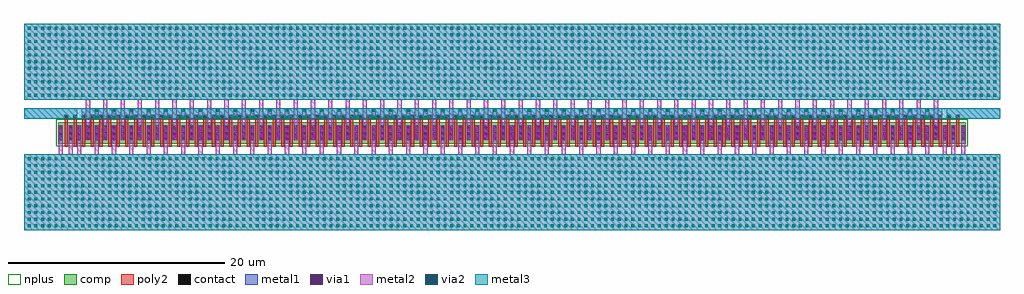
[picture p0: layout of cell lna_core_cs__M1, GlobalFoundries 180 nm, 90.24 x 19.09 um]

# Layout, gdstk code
import gdstk
lib = gdstk.Library(unit=1e-6, precision=1e-09)
def R(c, l, rs):  # rectangles x0, y0, x1, y1
    for r in rs: c.add(gdstk.rectangle(r[:2], r[2:], *l))
def A(c, l, x, y, w, h, nx, ny, dx, dy):  # array of equal rectangles
    R(c, l, [(x+i*dx, y+j*dy, x+i*dx+w, y+j*dy+h) for i in range(nx) for j in range(ny)])
comp = (22, 0)
poly2 = (30, 0)
nplus = (32, 0)
contact = (33, 0)
metal1 = (34, 0)
via1 = (35, 0)
metal2 = (36, 0)
via2 = (38, 0)
metal3 = (42, 0)

lna_core_cs__m1_pcell = lib.new_cell('lna_core_cs__M1_pcell')
R(lna_core_cs__m1_pcell, comp, [(-0.42,0,0,2), (0,0,83.06,2), (83.06,0,83.48,2)])
A(lna_core_cs__m1_pcell, poly2, 0.19, -0.3, 0.28, 2.6, 104, 1, 0.8, 0)
A(lna_core_cs__m1_pcell, poly2, 0.15, 2.3, 0.36, 0.36, 104, 1, 0.8, 0)
R(lna_core_cs__m1_pcell, nplus, [(-0.59,-0.24,83.65,2.24)])
A(lna_core_cs__m1_pcell, contact, -0.32, 0.38, 0.22, 0.22, 1, 3, 0, 0.51)
A(lna_core_cs__m1_pcell, contact, 0.62, 0.38, 0.22, 0.22, 103, 3, 0.8, 0.51)
A(lna_core_cs__m1_pcell, contact, 83.16, 0.38, 0.22, 0.22, 1, 3, 0, 0.51)
A(lna_core_cs__m1_pcell, contact, 0.22, 2.37, 0.22, 0.22, 104, 1, 0.8, 0)
A(lna_core_cs__m1_pcell, metal1, 0.54, 0.3, 0.38, 1.4, 103, 1, 0.8, 0)
A(lna_core_cs__m1_pcell, metal1, 0.14, 2.285, 0.38, 0.39, 104, 1, 0.8, 0)
R(lna_core_cs__m1_pcell, metal1, [(-0.4,0.3,-0.02,1.7), (83.08,0.3,83.46,1.7)])

lna_core_cs__m1 = lib.new_cell('lna_core_cs__M1')
R(lna_core_cs__m1, metal1, [(-3.59,2.285,1.32,3.285), (1.74,2.285,81.32,3.285), (81.74,2.285,86.65,3.285)])
A(lna_core_cs__m1, via1, 0.6, 0.56, 0.26, 0.26, 103, 2, 0.8, 0.62)
A(lna_core_cs__m1, via1, 3, 2.345, 0.26, 0.26, 49, 2, 1.6, 0.62)
R(lna_core_cs__m1, via1, [(-0.34,0.56,-0.08,0.82), (83.14,0.56,83.4,0.82), (-0.34,1.18,-0.08,1.44), (83.14,1.18,83.4,1.44)])
A(lna_core_cs__m1, metal2, 1.34, -1.5, 0.38, 3.2, 51, 1, 1.6, 0)
A(lna_core_cs__m1, metal2, 2.14, 0.3, 0.38, 4.285, 50, 1, 1.6, 0)
A(lna_core_cs__m1, metal2, 2.94, 2.285, 0.38, 1, 49, 1, 1.6, 0)
R(lna_core_cs__m1, metal2, [(-3.59,-8,86.65,-1), (-0.4,-1.5,-0.02,1.7), (0.54,-1.5,0.92,1.7), (82.14,-1.5,82.52,1.7), (83.08,-1.5,83.46,1.7), (-3.59,4.085,86.65,11.085)])
A(lna_core_cs__m1, via2, -3.24, -7.73, 0.26, 0.26, 145, 11, 0.62, 0.62)
A(lna_core_cs__m1, via2, 3, 2.345, 0.26, 0.26, 49, 2, 1.6, 0.62)
A(lna_core_cs__m1, via2, -3.24, 4.355, 0.26, 0.26, 145, 11, 0.62, 0.62)
R(lna_core_cs__m1, metal3, [(-3.59,-8,86.65,-1), (-3.59,2.285,86.65,3.285), (-3.59,4.085,86.65,11.085)])
lna_core_cs__m1.add(gdstk.Reference(lna_core_cs__m1_pcell, (0,0)))

lib.write_gds('lna_core_cs__M1.gds')
